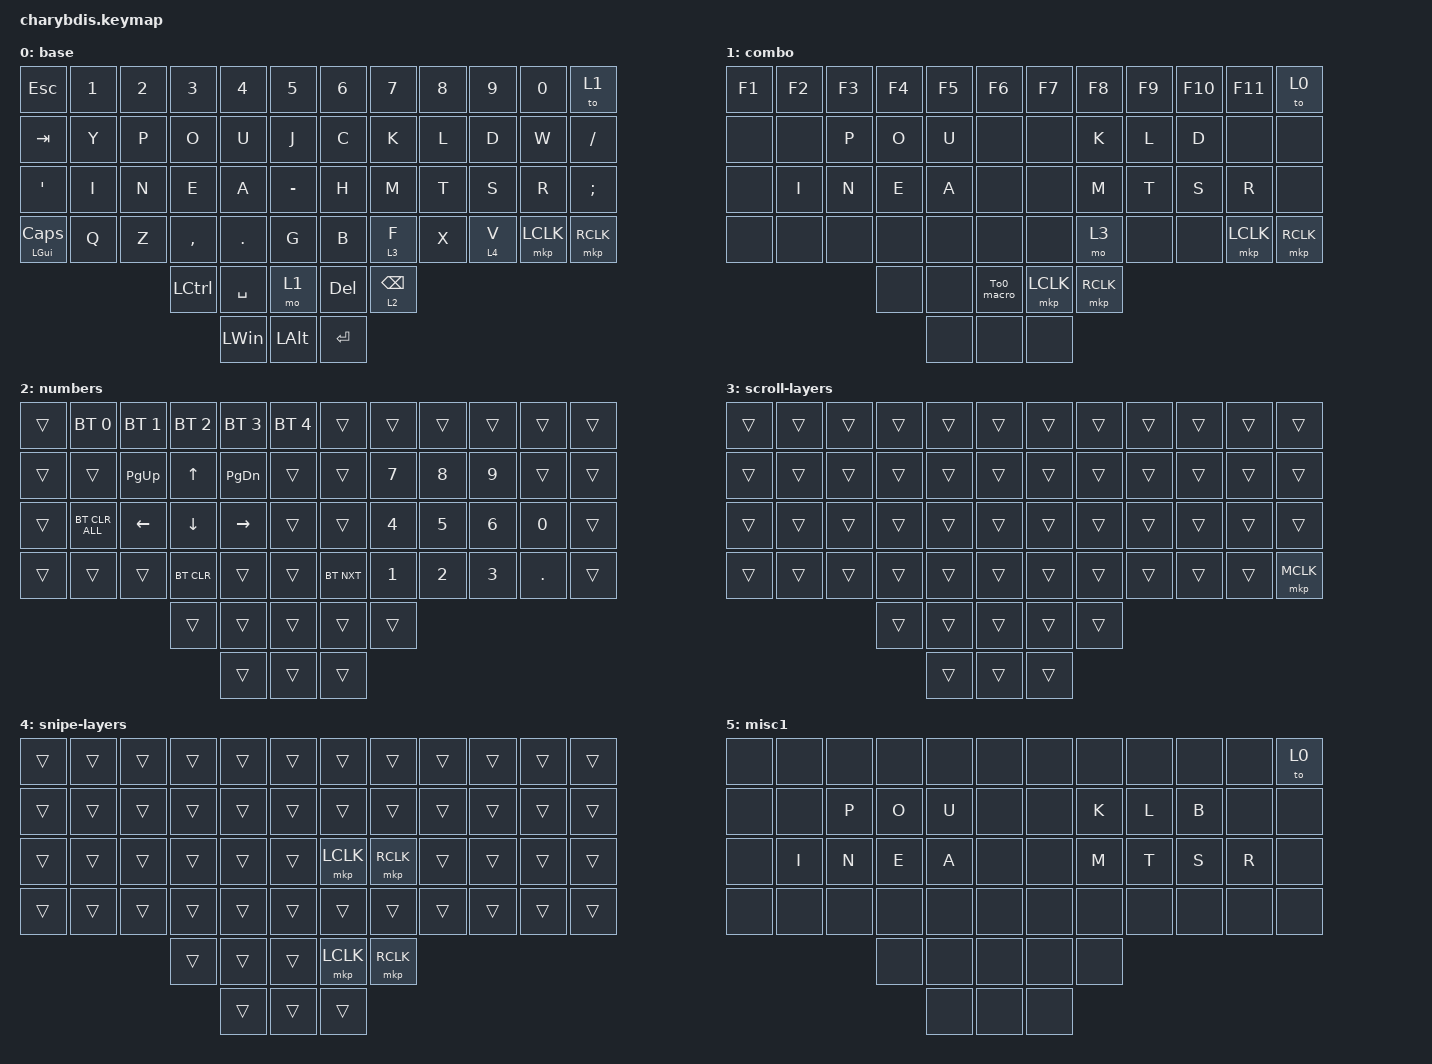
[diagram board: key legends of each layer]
#include <behaviors.dtsi>
#include <dt-bindings/zmk/bt.h>
#include <dt-bindings/zmk/keys.h>
#include <dt-bindings/zmk/pointing.h>
#include <dt-bindings/zmk/rgb.h>

&lt {
    tapping-term-ms = <200>;
    flavor = "balanced";
    quick-tap-ms = <150>;
};

/ {
    macros {
        To1_macro: To1_macro {
            compatible = "zmk,behavior-macro";
            label = "To1_macro";
            #binding-cells = <0>;
            bindings = <&rgb_ug RGB_EFF &rgb_ug RGB_COLOR_HSB(128,100,50) &to 1>;
        };

        To0_macro: To0_macro {
            compatible = "zmk,behavior-macro";
            label = "To0_macro";
            #binding-cells = <0>;
            bindings = <&rgb_ug RGB_EFR &to 0>;
        };

        To2_macro: To2_macro {
            compatible = "zmk,behavior-macro";
            label = "To2_macro";
            #binding-cells = <0>;
            bindings =
                <&to 2>,
                <&macro_wait_time 30>,
                <&rgb_ug RGB_COLOR_HSB(250,100,50)>;
        };
    };

    keymap {
        compatible = "zmk,keymap";

        base {
            bindings = <
&kp ESC            &kp N1  &kp N2  &kp N3            &kp N4        &kp N5          &kp N6      &kp N7           &kp N8  &kp N9   &kp N0     &to 1
&kp TAB            &kp Y   &kp P   &kp O             &kp U         &kp J           &kp C       &kp K            &kp L   &kp D    &kp W      &kp FSLH
&kp APOS           &kp I   &kp N   &kp E             &kp A         &kp MINUS       &kp H       &kp M            &kp T   &kp S    &kp R      &kp SEMI
&mt LEFT_GUI CAPS  &kp Q   &kp Z   &kp COMMA         &kp DOT       &kp G           &kp B       &lt 3 F          &kp X   &lt 4 V  &mkp LCLK  &mkp RCLK
                                   &kp LEFT_CONTROL  &kp SPACE     &mo 1           &kp DELETE  &lt 2 BACKSPACE
                                                     &kp LEFT_WIN  &kp LEFT_ALT    &kp ENTER
            >;
        };

        combo {
            bindings = <
&kp F1  &kp F2  &kp F3  &kp F4  &kp F5  &kp F6        &kp F7     &kp F8     &kp F9  &kp F10  &kp F11    &to 0
&none   &none   &kp P   &kp O   &kp U   &none         &none      &kp K      &kp L   &kp D    &none      &none
&none   &kp I   &kp N   &kp E   &kp A   &none         &none      &kp M      &kp T   &kp S    &kp R      &none
&none   &none   &none   &none   &none   &none         &none      &mo 3      &none   &none    &mkp LCLK  &mkp RCLK
                        &none   &none   &To0_macro    &mkp LCLK  &mkp RCLK
                                &none   &none         &none
            >;
        };

        numbers {
            bindings = <
&trans  &bt BT_SEL 0    &bt BT_SEL 1    &bt BT_SEL 2    &bt BT_SEL 3     &bt BT_SEL 4    &trans      &trans  &trans  &trans  &trans   &trans
&trans  &trans          &kp PAGE_UP     &kp UP_ARROW    &kp PAGE_DOWN    &trans          &trans      &kp N7  &kp N8  &kp N9  &trans   &trans
&trans  &bt BT_CLR_ALL  &kp LEFT_ARROW  &kp DOWN_ARROW  &kp RIGHT_ARROW  &trans          &trans      &kp N4  &kp N5  &kp N6  &kp N0   &trans
&trans  &trans          &trans          &bt BT_CLR      &trans           &trans          &bt BT_NXT  &kp N1  &kp N2  &kp N3  &kp DOT  &trans
                                        &trans          &trans           &trans          &trans      &trans
                                                        &trans           &trans          &trans
            >;
        };

        scroll-layers {
            bindings = <
&trans  &trans  &trans  &trans  &trans  &trans    &trans  &trans  &trans  &trans  &trans  &trans
&trans  &trans  &trans  &trans  &trans  &trans    &trans  &trans  &trans  &trans  &trans  &trans
&trans  &trans  &trans  &trans  &trans  &trans    &trans  &trans  &trans  &trans  &trans  &trans
&trans  &trans  &trans  &trans  &trans  &trans    &trans  &trans  &trans  &trans  &trans  &mkp MCLK
                        &trans  &trans  &trans    &trans  &trans
                                &trans  &trans    &trans
            >;
        };

        snipe-layers {
            bindings = <
&trans  &trans  &trans  &trans  &trans  &trans    &trans     &trans     &trans  &trans  &trans  &trans
&trans  &trans  &trans  &trans  &trans  &trans    &trans     &trans     &trans  &trans  &trans  &trans
&trans  &trans  &trans  &trans  &trans  &trans    &mkp LCLK  &mkp RCLK  &trans  &trans  &trans  &trans
&trans  &trans  &trans  &trans  &trans  &trans    &trans     &trans     &trans  &trans  &trans  &trans
                        &trans  &trans  &trans    &mkp LCLK  &mkp RCLK
                                &trans  &trans    &trans
            >;
        };

        misc1 {
            bindings = <
&none  &none  &none  &none  &none  &none    &none  &none  &none  &none  &none  &to 0
&none  &none  &kp P  &kp O  &kp U  &none    &none  &kp K  &kp L  &kp B  &none  &none
&none  &kp I  &kp N  &kp E  &kp A  &none    &none  &kp M  &kp T  &kp S  &kp R  &none
&none  &none  &none  &none  &none  &none    &none  &none  &none  &none  &none  &none
                     &none  &none  &none    &none  &none
                            &none  &none    &none
            >;
        };
    };
};
